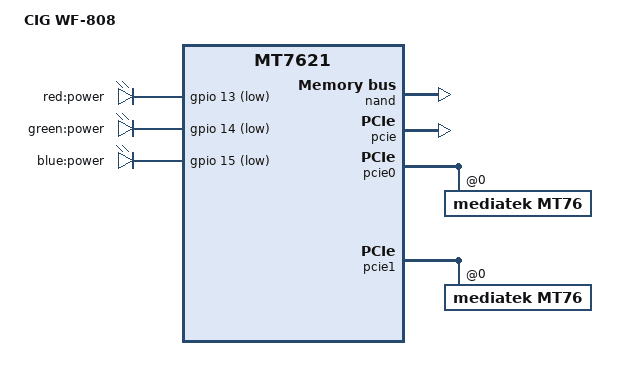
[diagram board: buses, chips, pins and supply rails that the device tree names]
// SPDX-License-Identifier: GPL-2.0-or-later OR MIT

#include "mt7621.dtsi"

#include <dt-bindings/gpio/gpio.h>
#include <dt-bindings/input/input.h>

/ {
	compatible = "cig,wf808", "mediatek,mt7621-soc";
	model = "CIG WF-808";

	aliases {
		led-boot = &led_power;
		led-failsafe = &led_power;
		led-running = &led_power;
		led-upgrade = &led_power;
	};

	chosen {
		bootargs = "console=ttyS0,57600";
	};

	reserved-memory {
		#address-cells = <1>;
		#size-cells = <1>;
		ranges;

		ramoops@ec0000 {
			compatible = "ramoops";
			reg = <0xec0000 0x140000>;
			record-size = <0x1000>;
		};
	};

	leds {
		compatible = "gpio-leds";

		red {
			label = "red:power";
			gpios = <&gpio 13 GPIO_ACTIVE_LOW>;
		};

		led_power: green {
			label = "green:power";
			gpios = <&gpio 14 GPIO_ACTIVE_LOW>;
			default-state = "on";
		};

		blue {
			label = "blue:power";
			gpios = <&gpio 15 GPIO_ACTIVE_LOW>;
		};
	};
};

&nand {
	status = "okay";

	partitions {
		compatible = "fixed-partitions";
		#address-cells = <1>;
		#size-cells = <1>;

		partition@0 {
			label = "u-boot";
			reg = <0x0 0x80000>;
			read-only;
		};

		partition@80000 {
			label = "u-boot-env";
			reg = <0x80000 0x80000>;
		};

		factory: partition@100000 {
			label = "factory";
			reg = <0x100000 0x40000>;
			read-only;
		};

		partition@1400000 {
			label = "kernel";
			reg = <0x140000 0x4c0000>;
		};

		partition@600000 {
			label = "ubi";
			reg = <0x600000 0x1a00000>;
		};
	};
};

&state_default {
	gpio {
		groups = "uart2", "uart3", "jtag";
		function = "gpio";
	};
};

&pcie {
	status = "okay";
};

&pcie0 {
	mt76@0,0 {
		compatible = "mediatek,mt76";
		reg = <0x0000 0 0 0 0>;
		mediatek,mtd-eeprom = <&factory 0x0000>;
	};
};

&pcie1 {
	mt76@0,0 {
		compatible = "mediatek,mt76";
		reg = <0x0000 0 0 0 0>;
		mediatek,mtd-eeprom = <&factory 0x8000>;
	};
};

&switch0 {
	ports {
		port@0 {
			status = "okay";
			label = "wan";
		};
	};
};

&xhci {
	status = "disabled";
};
